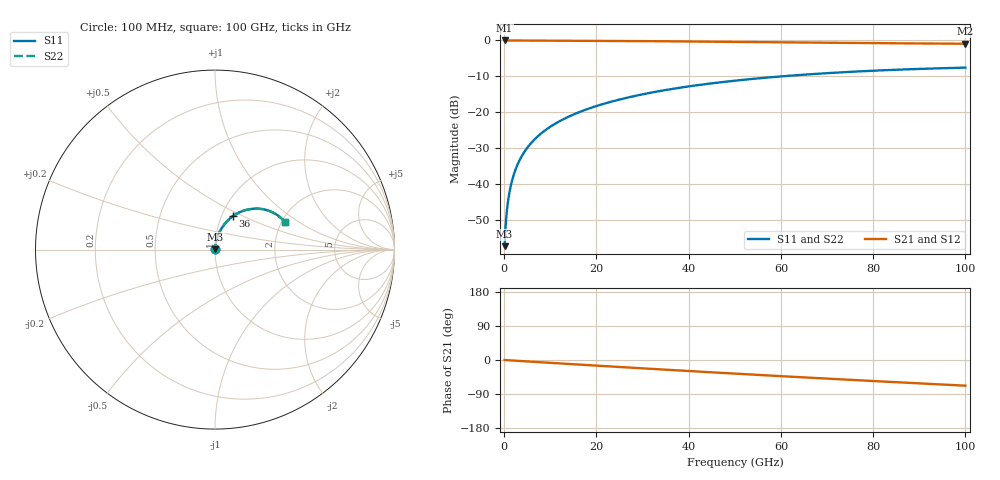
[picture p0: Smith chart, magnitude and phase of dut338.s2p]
! Touchstone file exported from HFSS 2026.1.0
!  File:  C:/ffzhzh/LocalFiles/Ansys_Project_Files/temp_train_RDL_338_1783503013_41296.aedt
!  Generated:  05:31:25 PM Jul  8, 2026
!  Design:  RDL
!  Project:  temp_train_RDL_338_1783503013_41296
! Variables:
!  h_bsmrdl = 2um
!  h_ox = 20um
!  h_rdl = 5um
!  h_sub = 80um
!  h_tmrdl = 2.96um
!  h_tsv = 80um
!  h_via = 3um
!  l_bsmrdl = 300um
!  l_sub = 598.17um
!  l_tmrdl = 198.17um
!  m_sub = 200um
!  pitch = 45.49um
!  r_tsv = 6um
!  s_tmrdl = 10um
!  w_bsmrdl = 18um
!  w_sub = 500um
!  w_tmrdl = 27.27um
!  x_tsv_center1 = 211.805um
!  x_tsv_center2 = 529.805um
!  x_tsv_center3 = 755.245um
!  x_tsv_center4 = 1073.245um
!  x_tsv_center5 = 1298.685um
!  x_tsv_center6 = 1616.685um
# GHz S MA R 50.000000
! Terminal data exported
! Port[1] = TM_RDL1_1_T1
! Port[2] = TM_RDL1_1_T2
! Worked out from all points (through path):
!   1000 points, 100 MHz to 100 GHz, reference 50 ohm
!   highest |S21| = -0.01 dB at 100 MHz (marker M1); lowest = -0.9 dB at 100 GHz (marker M2)
!   group delay of S21, straight-line fit = 1.88 ps
!   lowest |S11| = -57.1 dB at 100 MHz (marker M3), VSWR 1.00, Z = 50.1 + j0.0754 ohm
!   |S11| at or under -10 dB: start of sweep to 59.97 GHz
!   |S22| runs from -57.1 to -7.6 dB; largest |S21 - S12| = 5.2e-15
!   S11 on the Smith chart (normalised r, x): 100 MHz: 1.00, +0.00; 36 GHz: 1.13, +0.44; 100 GHz: 2.08, +0.78
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0.1  0.001389 32.8  0.9988 -0.1  0.9988 -0.1  0.001389 32.8
! Gamma 0 0 0 0
! Port Impedance 50 0 50 0
0.4  0.003136 63.8  0.9986 -0.3  0.9986 -0.3  0.003136 63.8
0.7  0.004966 72.0  0.9985 -0.5  0.9985 -0.5  0.004966 72.0
0.9  0.006198 74.9  0.9984 -0.7  0.9984 -0.7  0.006199 74.9
1.2  0.008071 77.7  0.9984 -0.9  0.9984 -0.9  0.008071 77.7
1.6  0.0106 79.9  0.9983 -1.2  0.9983 -1.2  0.0106 79.9
2.1  0.01378 81.3  0.9982 -1.6  0.9982 -1.6  0.01378 81.3
2.7  0.0176 82.2  0.9981 -2.1  0.9981 -2.1  0.0176 82.2
3.4  0.02207 82.6  0.9979 -2.6  0.9979 -2.6  0.02207 82.6
4.2  0.02715 82.6  0.9976 -3.2  0.9976 -3.2  0.02715 82.6
5.2  0.03348 82.3  0.9973 -3.9  0.9973 -3.9  0.03348 82.3
6.3  0.0404 81.9  0.9968 -4.8  0.9968 -4.8  0.0404 81.9
9.1  0.05778 80.2  0.9954 -6.9  0.9954 -6.9  0.05778 80.2
12.6  0.07907 77.9  0.9932 -9.4  0.9932 -9.4  0.07907 77.9
16.8  0.104 75.1  0.9903 -12.5  0.9903 -12.5  0.104 75.1
24.2  0.1465 70.1  0.984 -17.9  0.984 -17.9  0.1466 70.0
33.4  0.1964 63.8  0.9745 -24.5  0.9745 -24.5  0.1964 63.8
36  0.2098 62.1  0.9715 -26.3  0.9715 -26.3  0.2098 62.0
50.1  0.2763 52.6  0.954 -36.0  0.954 -36.0  0.2763 52.5
66.7  0.3402 41.9  0.9327 -47.0  0.9327 -47.0  0.3402 41.7
83.4  0.3879 31.5  0.9137 -57.6  0.9137 -57.6  0.3879 31.3
100  0.4189 21.5  0.8996 -67.8  0.8996 -67.8  0.4189 21.2
